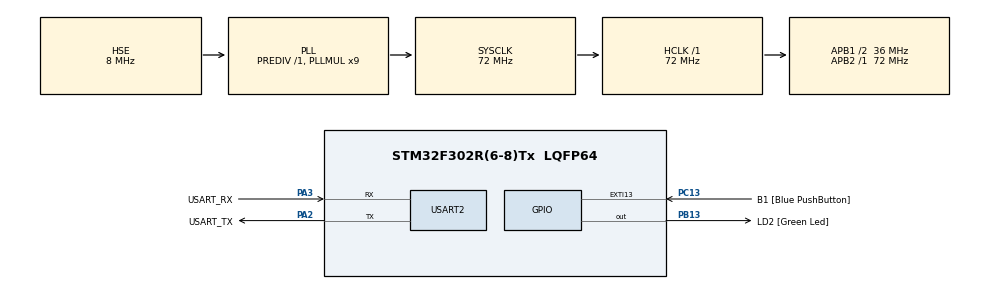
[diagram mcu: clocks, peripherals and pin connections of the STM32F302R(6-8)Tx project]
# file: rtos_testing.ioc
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FREERTOS.Tasks01=defaultTask,0,128,StartDefaultTask,Default,NULL,Dynamic,NULL,NULL;Task2,0,128,Task2_init,Default,NULL,Dynamic,NULL,NULL
FREERTOS.configUSE_NEWLIB_REENTRANT=1
Mcu.Family=STM32F3
Mcu.Name=STM32F302R(6-8)Tx
Mcu.Package=LQFP64
NVIC.PriorityGroup=NVIC_PRIORITYGROUP_4
NVIC.TIM6_DAC_IRQn=true\:15\:0\:false\:false\:true\:false\:false\:true\:true
NVIC.TimeBase=TIM6_DAC_IRQn
NVIC.TimeBaseIP=TIM6
PA13.GPIO_Label=TMS
PA13.Signal=SYS_JTMS-SWDIO
PA14.GPIO_Label=TCK
PA14.Signal=SYS_JTCK-SWCLK
PA2.GPIO_Label=USART_TX
PA2.GPIO_Mode=GPIO_MODE_AF_PP
PA2.GPIO_PuPd=GPIO_NOPULL
PA2.GPIO_Speed=GPIO_SPEED_FREQ_LOW
PA2.Mode=Asynchronous
PA2.Signal=USART2_TX
PA3.GPIO_Label=USART_RX
PA3.GPIO_Mode=GPIO_MODE_AF_PP
PA3.GPIO_PuPd=GPIO_NOPULL
PA3.GPIO_Speed=GPIO_SPEED_FREQ_LOW
PA3.Mode=Asynchronous
PA3.Signal=USART2_RX
PB13.GPIO_Label=LD2 [Green Led]
PB13.Signal=GPIO_Output
PB3.GPIO_Label=SWO
PB3.Mode=Trace_Asynchronous_SW
PB3.Signal=SYS_JTDO-TRACESWO
PC13.GPIO_Label=B1 [Blue PushButton]
PC13.GPIO_ModeDefaultEXTI=GPIO_MODE_IT_FALLING
PC13.Signal=GPXTI13
PC14\ -\ OSC32_IN.Signal=RCC_OSC32_IN
PC15\ -\ OSC32_OUT.Signal=RCC_OSC32_OUT
PF0-OSC_IN.Mode=HSE-External-Oscillator
PF0-OSC_IN.Signal=RCC_OSC_IN
PF1-OSC_OUT.Mode=HSE-External-Oscillator
PF1-OSC_OUT.Signal=RCC_OSC_OUT
ProjectManager.HeapSize=0x200
ProjectManager.StackSize=0x400
ProjectManager.TargetToolchain=STM32CubeIDE
RCC.AHBFreq_Value=72000000
RCC.APB1CLKDivider=RCC_HCLK_DIV2
RCC.APB1Freq_Value=36000000
RCC.APB1TimFreq_Value=72000000
RCC.APB2Freq_Value=72000000
RCC.APB2TimFreq_Value=72000000
RCC.CortexFreq_Value=72000000
RCC.HCLKFreq_Value=72000000
RCC.HSE_VALUE=8000000
RCC.HSI_VALUE=8000000
RCC.PLLM=8
RCC.PLLMUL=RCC_PLL_MUL9
RCC.PLLN=336
RCC.PLLP=RCC_PLLP_DIV4
RCC.PLLQ=7
RCC.PLLSourceVirtual=RCC_PLLSOURCE_HSE
RCC.SYSCLKFreq_VALUE=72000000
RCC.SYSCLKSourceVirtual=RCC_SYSCLKSOURCE_PLLCLK
RCC.USBFreq_Value=72000000
USART2.VirtualMode-Asynchronous=VM_ASYNC
VP_FREERTOS_VS_CMSIS_V1.Mode=CMSIS_V1
VP_SYS_VS_tim6.Mode=TIM6
board=NUCLEO-F302R8

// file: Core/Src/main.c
/* USER CODE BEGIN Header */
/**
  ******************************************************************************
  * @file           : main.c
  * @brief          : Main program body
  ******************************************************************************
  * @attention
  *
  * Copyright (c) 2023 STMicroelectronics.
  * All rights reserved.
  *
  * This software is licensed under terms that can be found in the LICENSE file
  * in the root directory of this software component.
  * If no LICENSE file comes with this software, it is provided AS-IS.
  *
  ******************************************************************************
  */
/* USER CODE END Header */
#include "main.h"
#include "cmsis_os.h"
#include <stdio.h>

UART_HandleTypeDef huart2;

osThreadId defaultTaskHandle;
osThreadId Task2Handle;
/* USER CODE BEGIN PV */
osThreadId Task3Handle;
osThreadId rtosTimerHandle;

/* USER CODE END PV */

void SystemClock_Config(void);
static void MX_GPIO_Init(void);
static void MX_USART2_UART_Init(void);
void StartDefaultTask(void const * argument);
void Task2_init(void const * argument);

/* USER CODE BEGIN PFP */
void Task3_init(void const * argument);
void rtosTimer_init(void const * argument);

/* USER CODE END PFP */

/* USER CODE BEGIN 0 */
void send_defttask (void)
{
	uint8_t data[] = "Hello from defttask\r\n";
	HAL_UART_Transmit(&huart2, data, sizeof(data), 500);
}

void send_task2 (void)
{
	uint8_t data[] = "Hello from Task2\r\n";
	HAL_UART_Transmit(&huart2, data, sizeof(data), 500);
}

void send_task3 (void)
{
	uint8_t data[] = "Hello from Task3\r\n";
	HAL_UART_Transmit(&huart2, data, sizeof(data), 500);
}

void send_rtosTimer (int count)
{
	char buffer[16];
	uint8_t data[] = "Time at t = ";
	HAL_UART_Transmit(&huart2, data, sizeof(data), 500);
	sprintf(buffer, "%d", count);
	HAL_UART_Transmit(&huart2, (uint8_t*)buffer, sizeof(buffer), 500);
	//HAL_UART_Transmit(&huart2, (uint8_t *) count, sizeof(count), 500);
	uint8_t newline[] = "\r\n";
	HAL_UART_Transmit(&huart2, newline, sizeof(newline), 500);
}

int i = 15;

/* USER CODE END 0 */

int main(void)
{

  /* MCU Configuration--------------------------------------------------------*/

  /* Reset of all peripherals, Initializes the Flash interface and the Systick. */
  HAL_Init();

  /* Configure the system clock */
  SystemClock_Config();

  /* Initialize all configured peripherals */
  MX_GPIO_Init();
  MX_USART2_UART_Init();

  /* Create the thread(s) */
  /* definition and creation of defaultTask */
  osThreadDef(defaultTask, StartDefaultTask, osPriorityBelowNormal, 0, 128);  //1 second (low)
  defaultTaskHandle = osThreadCreate(osThread(defaultTask), NULL);

  /* definition and creation of Task2 */
  osThreadDef(Task2, Task2_init, osPriorityNormal, 0, 128);		//2 second (mid)
  Task2Handle = osThreadCreate(osThread(Task2), NULL);

  /* USER CODE BEGIN RTOS_THREADS */
  /* add threads, ... */
  osThreadDef(Task3, Task3_init, osPriorityAboveNormal, 0, 128);		//3 second (high)
   Task3Handle = osThreadCreate(osThread(Task3), NULL);

   osThreadDef(rtosTimer, rtosTimer_init, osPriorityHigh, 0, 128);		//Timer (very high)
   rtosTimerHandle = osThreadCreate(osThread(rtosTimer), NULL);
  /* USER CODE END RTOS_THREADS */

   // Beginning to receive data
	uint8_t data[] = "Beginning transmission\r\n";
	HAL_UART_Transmit(&huart2, data, sizeof(data), 500);
  /* Start scheduler */
  osKernelStart();

  /* We should never get here as control is now taken by the scheduler */
  /* Infinite loop */
  while (1)
  {

  }
}

void SystemClock_Config(void)
{
  RCC_OscInitTypeDef RCC_OscInitStruct = {0};
  RCC_ClkInitTypeDef RCC_ClkInitStruct = {0};

  /** Initializes the RCC Oscillators according to the specified parameters
  * in the RCC_OscInitTypeDef structure.
  */
  RCC_OscInitStruct.OscillatorType = RCC_OSCILLATORTYPE_HSE;
  RCC_OscInitStruct.HSEState = RCC_HSE_ON;
  RCC_OscInitStruct.HSEPredivValue = RCC_HSE_PREDIV_DIV1;
  RCC_OscInitStruct.HSIState = RCC_HSI_ON;
  RCC_OscInitStruct.PLL.PLLState = RCC_PLL_ON;
  RCC_OscInitStruct.PLL.PLLSource = RCC_PLLSOURCE_HSE;
  RCC_OscInitStruct.PLL.PLLMUL = RCC_PLL_MUL9;
  if (HAL_RCC_OscConfig(&RCC_OscInitStruct) != HAL_OK)
  {
    Error_Handler();
  }

  /** Initializes the CPU, AHB and APB buses clocks
  */
  RCC_ClkInitStruct.ClockType = RCC_CLOCKTYPE_HCLK|RCC_CLOCKTYPE_SYSCLK
                              |RCC_CLOCKTYPE_PCLK1|RCC_CLOCKTYPE_PCLK2;
  RCC_ClkInitStruct.SYSCLKSource = RCC_SYSCLKSOURCE_PLLCLK;
  RCC_ClkInitStruct.AHBCLKDivider = RCC_SYSCLK_DIV1;
  RCC_ClkInitStruct.APB1CLKDivider = RCC_HCLK_DIV2;
  RCC_ClkInitStruct.APB2CLKDivider = RCC_HCLK_DIV1;

  if (HAL_RCC_ClockConfig(&RCC_ClkInitStruct, FLASH_LATENCY_2) != HAL_OK)
  {
    Error_Handler();
  }
}

static void MX_USART2_UART_Init(void)
{

  huart2.Instance = USART2;
  huart2.Init.BaudRate = 38400;
  huart2.Init.WordLength = UART_WORDLENGTH_8B;
  huart2.Init.StopBits = UART_STOPBITS_1;
  huart2.Init.Parity = UART_PARITY_NONE;
  huart2.Init.Mode = UART_MODE_TX_RX;
  huart2.Init.HwFlowCtl = UART_HWCONTROL_NONE;
  huart2.Init.OverSampling = UART_OVERSAMPLING_16;
  huart2.Init.OneBitSampling = UART_ONE_BIT_SAMPLE_DISABLE;
  huart2.AdvancedInit.AdvFeatureInit = UART_ADVFEATURE_NO_INIT;
  if (HAL_UART_Init(&huart2) != HAL_OK)
  {
    Error_Handler();
  }

}

static void MX_GPIO_Init(void)
{
  GPIO_InitTypeDef GPIO_InitStruct = {0};

  /* GPIO Ports Clock Enable */
  __HAL_RCC_GPIOC_CLK_ENABLE();
  __HAL_RCC_GPIOF_CLK_ENABLE();
  __HAL_RCC_GPIOA_CLK_ENABLE();
  __HAL_RCC_GPIOB_CLK_ENABLE();

  /*Configure GPIO pin Output Level */
  HAL_GPIO_WritePin(LD2_GPIO_Port, LD2_Pin, GPIO_PIN_RESET);

  /*Configure GPIO pin : B1_Pin */
  GPIO_InitStruct.Pin = B1_Pin;
  GPIO_InitStruct.Mode = GPIO_MODE_IT_FALLING;
  GPIO_InitStruct.Pull = GPIO_NOPULL;
  HAL_GPIO_Init(B1_GPIO_Port, &GPIO_InitStruct);

  /*Configure GPIO pin : LD2_Pin */
  GPIO_InitStruct.Pin = LD2_Pin;
  GPIO_InitStruct.Mode = GPIO_MODE_OUTPUT_PP;
  GPIO_InitStruct.Pull = GPIO_NOPULL;
  GPIO_InitStruct.Speed = GPIO_SPEED_FREQ_LOW;
  HAL_GPIO_Init(LD2_GPIO_Port, &GPIO_InitStruct);

}

void StartDefaultTask(void const * argument)
{
  /* USER CODE BEGIN 5 */
  /* Infinite loop */
  for(;;)
  {
	  //HAL_GPIO_TogglePin(GPIOB, GPIO_PIN_13);
	  send_defttask();
    osDelay(1000);
  }
  /* USER CODE END 5 */
}

void Task2_init(void const * argument)
{
  /* USER CODE BEGIN Task2_init */
  /* Infinite loop */
  for(;;)
  {
	  //HAL_GPIO_TogglePin(GPIOB, GPIO_PIN_13);
	  send_task2();
    osDelay(2000);
  }
  /* USER CODE END Task2_init */
}

void Task3_init (void const * argument)
{
	while (1)
	{
		send_task3();
		osDelay(3000); //3 sec delay
	}
}

void rtosTimer_init (void const * argument)
{
	int cnt = 0;
	while (1)
	{
		send_rtosTimer(cnt);
		osDelay(1000); 		//will display every second
		cnt = cnt + 1000;
	}
}

void HAL_TIM_PeriodElapsedCallback(TIM_HandleTypeDef *htim)
{
  if (htim->Instance == TIM6) {
    HAL_IncTick();
  }
}

void Error_Handler(void)
{
  __disable_irq();
  while (1)
  {
  }
}
